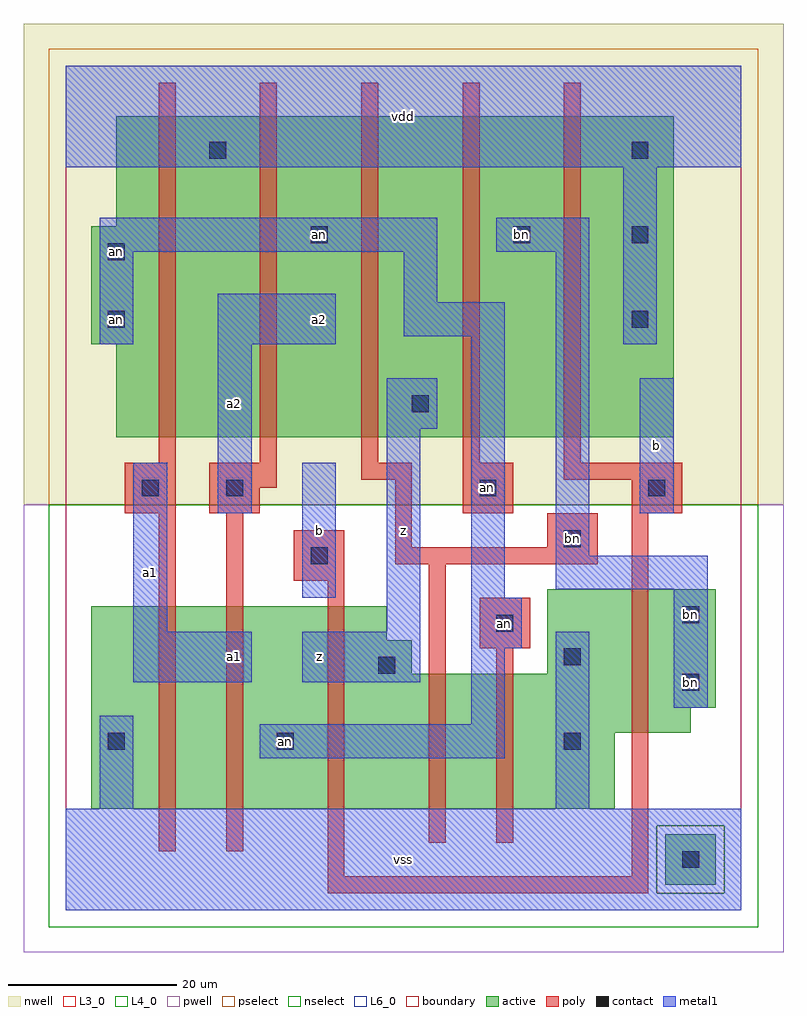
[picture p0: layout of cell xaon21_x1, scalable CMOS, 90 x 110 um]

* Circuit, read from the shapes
.subckt xaon21_x1 a1 a2 an b bn vdd vss z
M1 n1 a1 vss vss nfet w=24u l=2u
M2 an a2 n1 vss nfet w=24u l=2u
M3 z b an vss nfet w=24u l=2u
M4 n2 bn z vss nfet w=16u l=2u
M5 vss an n2 vss nfet w=16u l=2u
M6 bn b vss vss nfet w=17u l=2u
M7 vdd a1 an n3 pfet w=38u l=2u
M8 an a2 vdd n3 pfet w=38u l=2u
M9 z bn an n3 pfet w=38u l=2u
M10 bn an z n3 pfet w=38u l=2u
M11 vdd b bn n3 pfet w=38u l=2u
.ends

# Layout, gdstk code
import gdstk
lib = gdstk.Library(unit=1e-6, precision=1e-09)
def R(c, l, rs):  # rectangles x0, y0, x1, y1
    for r in rs: c.add(gdstk.rectangle(r[:2], r[2:], *l))
def A(c, l, x, y, w, h, nx, ny, dx, dy):  # array of equal rectangles
    R(c, l, [(x+i*dx, y+j*dy, x+i*dx+w, y+j*dy+h) for i in range(nx) for j in range(ny)])
L3_0 = (3, 0)
L4_0 = (4, 0)
L6_0 = (6, 0)
contact = (25, 0)
pwell = (41, 0)
nwell = (42, 0)
active = (43, 0)
pselect = (44, 0)
nselect = (45, 0)
poly = (46, 0)
metal1 = (49, 0)
boundary = (63, 0)

xaon21_x1 = lib.new_cell('xaon21_x1')
R(xaon21_x1, L3_0, [(3,12,65,21), (3,21,74,24), (3,24,77,28), (3,28,41,32), (57,28,77,38), (3,32,38,36)])
R(xaon21_x1, L4_0, [(6,56,72,67), (3,67,72,81), (6,81,72,94)])
R(xaon21_x1, L6_0, [(71,3,77,9)])
A(xaon21_x1, contact, 67, 69, 2, 2, 1, 3, 0, 10)
R(xaon21_x1, contact, [(73,5,75,7), (5,19,7,21), (25,19,27,21), (59,19,61,21), (73,26,75,28), (37,28,39,30), (59,29,61,31), (51,33,53,35), (73,34,75,36), (29,41,31,43), (59,43,61,45), (9,49,11,51), (19,49,21,51), (49,49,51,51), (69,49,71,51), (41,59,43,61), (5,69,7,71), (5,77,7,79), (29,79,31,81), (53,79,55,81), (17,89,19,91)])
R(xaon21_x1, pwell, [(-5,-5,85,48)])
R(xaon21_x1, nwell, [(-5,48,85,105)])
R(xaon21_x1, active, [(71,3,77,9), (3,12,65,21), (3,21,74,24), (3,24,77,28), (3,28,41,32), (57,28,77,38), (3,32,38,36), (6,56,72,67), (3,67,72,81), (6,81,72,94)])
R(xaon21_x1, pselect, [(70,2,78,10), (-2,48,82,102)])
R(xaon21_x1, nselect, [(-2,-2,82,2), (-2,2,70,10), (78,2,82,10), (-2,10,82,48)])
A(xaon21_x1, poly, 11, 53, 2, 45, 5, 1, 12, 0)
R(xaon21_x1, poly, [(31,2,69,4), (31,4,33,39), (67,4,69,47), (11,7,13,47), (19,7,21,47), (43,8,45,41), (51,8,53,31), (49,31,55,37), (27,39,33,45), (39,41,63,43), (39,43,41,51), (57,43,63,47), (7,47,13,53), (17,47,23,50), (47,47,53,53), (67,47,73,51), (17,50,25,53), (35,51,41,53), (59,51,73,53)])
R(xaon21_x1, metal1, [(0,0,80,12), (4,12,8,23), (58,12,62,33), (23,18,52,22), (48,22,52,31), (72,24,76,38), (8,27,22,33), (28,27,42,33), (48,31,54,37), (8,33,12,53), (38,33,42,57), (28,37,32,53), (48,37,52,68), (58,38,76,42), (58,42,62,78), (18,47,22,67), (68,47,72,63), (38,57,44,63), (4,67,8,78), (18,67,32,73), (66,67,70,88), (40,68,52,72), (40,72,44,78), (4,78,44,82), (51,78,62,82), (0,88,80,100)])
R(xaon21_x1, boundary, [(0,0,80,100)])
xaon21_x1.add(gdstk.Label('an', (6,70), layer=49, texttype=0))
xaon21_x1.add(gdstk.Label('an', (6,78), layer=49, texttype=0))
xaon21_x1.add(gdstk.Label('an', (26,20), layer=49, texttype=0))
xaon21_x1.add(gdstk.Label('an', (30,80), layer=49, texttype=0))
xaon21_x1.add(gdstk.Label('an', (52,34), layer=49, texttype=0))
xaon21_x1.add(gdstk.Label('an', (50,50), layer=49, texttype=0))
xaon21_x1.add(gdstk.Label('bn', (54,80), layer=49, texttype=0))
xaon21_x1.add(gdstk.Label('bn', (74,27), layer=49, texttype=0))
xaon21_x1.add(gdstk.Label('bn', (60,44), layer=49, texttype=0))
xaon21_x1.add(gdstk.Label('bn', (74,35), layer=49, texttype=0))
xaon21_x1.add(gdstk.Label('a1', (10,40), layer=49, texttype=0))
xaon21_x1.add(gdstk.Label('a1', (20,30), layer=49, texttype=0))
xaon21_x1.add(gdstk.Label('b', (30,45), layer=49, texttype=0))
xaon21_x1.add(gdstk.Label('z', (30,30), layer=49, texttype=0))
xaon21_x1.add(gdstk.Label('a2', (20,60), layer=49, texttype=0))
xaon21_x1.add(gdstk.Label('a2', (30,70), layer=49, texttype=0))
xaon21_x1.add(gdstk.Label('vss', (40,6), layer=49, texttype=0))
xaon21_x1.add(gdstk.Label('z', (40,45), layer=49, texttype=0))
xaon21_x1.add(gdstk.Label('vdd', (40,94), layer=49, texttype=0))
xaon21_x1.add(gdstk.Label('b', (70,55), layer=49, texttype=0))

lib.write_gds('xaon21_x1.gds')
